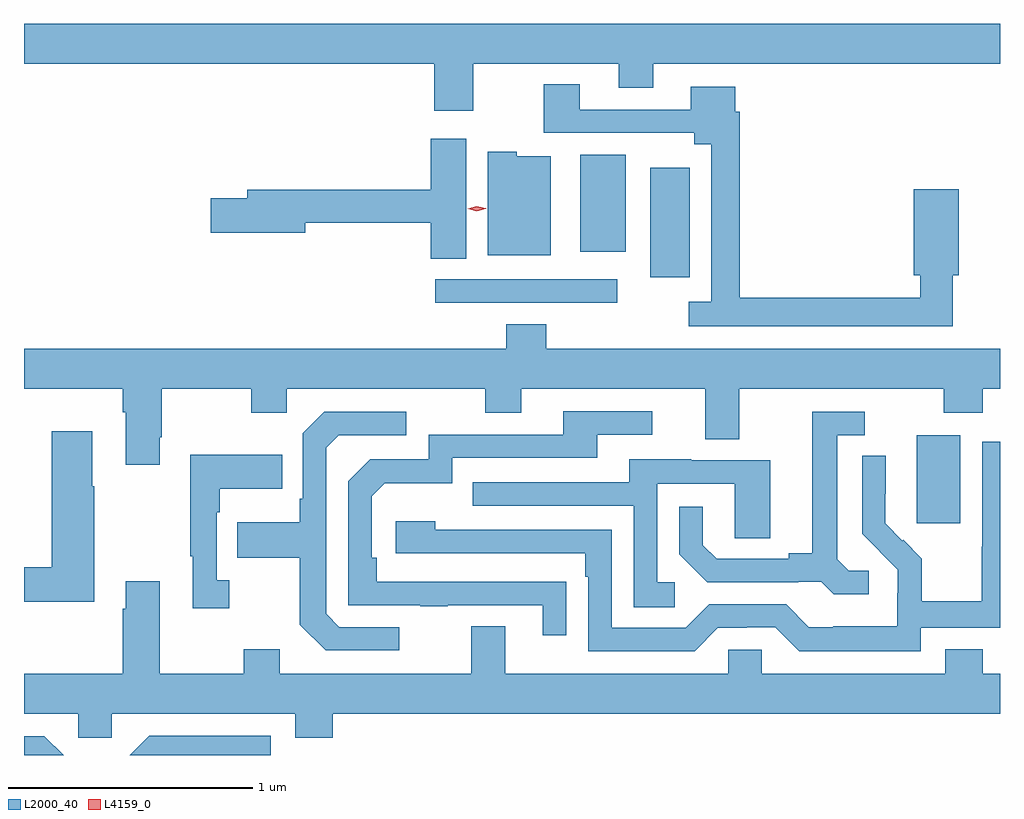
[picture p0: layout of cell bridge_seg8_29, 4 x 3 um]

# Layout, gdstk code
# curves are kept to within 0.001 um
import gdstk
lib = gdstk.Library(unit=1e-6, precision=1e-09)
def R(c, l, rs):  # rectangles x0, y0, x1, y1
    for r in rs: c.add(gdstk.rectangle(r[:2], r[2:], *l))
def P(c, l, *ps):  # polygons
    for p in ps: c.add(gdstk.Polygon(p, *l))
L2000_40 = (2000, 40)
L4159_0 = (4159, 0)

bridge_seg8_29 = lib.new_cell('bridge_seg8_29')
R(bridge_seg8_29, L2000_40, [(1095.524,1143.921,1095.703,1144.282), (1093.551,1144.824,1094.296,1144.92), (1094.432,1144.929,1094.593,1145.377), (1094.144,1145.033,1094.332,1145.431)])
P(bridge_seg8_29, L2000_40, [(1093.707,1145.804),(1094.303,1145.804),(1094.303,1145.705),(1094.443,1145.705),(1094.443,1145.804),(1095.865,1145.804),(1095.865,1145.968),(1091.865,1145.968),(1091.865,1145.804),(1093.547,1145.804),(1093.547,1145.61),(1093.707,1145.61)],
  [(1095.671,1144.937),(1095.695,1144.937),(1095.695,1145.29),(1095.512,1145.29),(1095.512,1144.937),(1095.539,1144.937),(1095.539,1144.844),(1094.798,1144.844),(1094.798,1145.606),(1094.779,1145.606),(1094.779,1145.71),(1094.597,1145.71),(1094.597,1145.616),(1094.143,1145.616),(1094.143,1145.719),(1093.996,1145.719),(1093.996,1145.52),(1094.612,1145.52),(1094.612,1145.474),(1094.682,1145.474),(1094.682,1144.828),(1094.589,1144.828),(1094.589,1144.728),(1095.671,1144.728)],
  [(1093.678,1145.497),(1093.532,1145.497),(1093.532,1145.288),(1092.779,1145.288),(1092.779,1145.252),(1092.63,1145.252),(1092.63,1145.11),(1093.018,1145.11),(1093.018,1145.152),(1093.532,1145.152),(1093.532,1145.005),(1093.678,1145.005)],
  [(1094.023,1145.425),(1093.884,1145.425),(1093.884,1145.443),(1093.766,1145.443),(1093.766,1145.018),(1094.023,1145.018)],
  [(1092.421,1144.273),(1092.429,1144.273),(1092.429,1144.472),(1092.796,1144.472),(1092.796,1144.373),(1092.942,1144.373),(1092.942,1144.472),(1093.756,1144.472),(1093.756,1144.373),(1093.903,1144.373),(1093.903,1144.472),(1094.657,1144.472),(1094.657,1144.264),(1094.797,1144.264),(1094.797,1144.472),(1095.634,1144.472),(1095.634,1144.373),(1095.794,1144.373),(1095.794,1144.472),(1095.865,1144.472),(1095.865,1144.636),(1094.006,1144.636),(1094.006,1144.735),(1093.841,1144.735),(1093.841,1144.636),(1091.865,1144.636),(1091.865,1144.472),(1092.269,1144.472),(1092.269,1144.376),(1092.281,1144.376),(1092.281,1144.161),(1092.421,1144.161)],
  [(1094.087,1143.68),(1093.31,1143.681),(1093.31,1143.778),(1093.29,1143.778),(1093.29,1144.032),(1093.343,1144.085),(1093.62,1144.085),(1093.62,1144.188),(1094.215,1144.188),(1094.215,1144.284),(1094.44,1144.284),(1094.44,1144.38),(1094.075,1144.38),(1094.075,1144.284),(1093.524,1144.284),(1093.524,1144.182),(1093.284,1144.182),(1093.194,1144.092),(1093.194,1143.585),(1093.489,1143.585),(1093.489,1143.58),(1093.601,1143.58),(1093.601,1143.585),(1093.991,1143.585),(1093.991,1143.462),(1094.087,1143.462)],
  [(1093.402,1143.495),(1093.158,1143.495),(1093.104,1143.549),(1093.104,1144.23),(1093.155,1144.281),(1093.432,1144.281),(1093.432,1144.377),(1093.095,1144.377),(1093.008,1144.29),(1093.008,1144.021),(1092.996,1144.021),(1092.996,1143.925),(1092.739,1143.925),(1092.739,1143.778),(1092.996,1143.778),(1092.996,1143.505),(1093.101,1143.399),(1093.402,1143.399)],
  [(1095.328,1143.726),(1095.246,1143.726),(1095.199,1143.773),(1095.199,1144.281),(1095.31,1144.281),(1095.31,1144.377),(1095.095,1144.377),(1095.095,1143.797),(1094.999,1143.797),(1094.999,1143.774),(1094.704,1143.774),(1094.647,1143.831),(1094.647,1143.988),(1094.55,1143.988),(1094.55,1143.794),(1094.666,1143.678),(1095.038,1143.678),(1095.038,1143.681),(1095.132,1143.681),(1095.184,1143.629),(1095.328,1143.629)],
  [(1092.153,1144.073),(1092.145,1144.073),(1092.145,1144.297),(1091.978,1144.297),(1091.978,1143.74),(1091.865,1143.74),(1091.865,1143.598),(1092.153,1143.598)],
  [(1095.54,1143.492),(1095.865,1143.492),(1095.865,1144.254),(1095.792,1144.254),(1095.792,1143.824),(1095.79,1143.824),(1095.79,1143.601),(1095.545,1143.601),(1095.545,1143.775),(1095.468,1143.852),(1095.465,1143.849),(1095.395,1143.92),(1095.396,1144.196),(1095.3,1144.196),(1095.3,1143.878),(1095.446,1143.73),(1095.446,1143.633),(1095.444,1143.633),(1095.444,1143.499),(1095.181,1143.499),(1095.181,1143.495),(1095.081,1143.495),(1094.988,1143.588),(1094.673,1143.588),(1094.577,1143.492),(1094.274,1143.492),(1094.274,1143.894),(1093.55,1143.894),(1093.55,1143.928),(1093.389,1143.928),(1093.389,1143.798),(1094.165,1143.798),(1094.165,1143.701),(1094.178,1143.701),(1094.178,1143.396),(1094.613,1143.396),(1094.709,1143.492),(1094.828,1143.492),(1094.828,1143.495),(1094.943,1143.495),(1095.043,1143.395),(1095.54,1143.395)],
  [(1092.706,1143.686),(1092.654,1143.686),(1092.654,1143.965),(1092.667,1143.965),(1092.667,1144.061),(1092.923,1144.061),(1092.923,1144.201),(1092.546,1144.201),(1092.546,1143.785),(1092.557,1143.785),(1092.557,1143.573),(1092.706,1143.573)],
  [(1094.533,1143.678),(1094.46,1143.678),(1094.46,1144.083),(1094.778,1144.083),(1094.778,1143.859),(1094.923,1143.859),(1094.923,1144.179),(1094.599,1144.179),(1094.599,1144.183),(1094.345,1144.183),(1094.345,1144.089),(1093.705,1144.089),(1093.705,1143.993),(1094.364,1143.993),(1094.364,1143.577),(1094.533,1143.577)],
  [(1093.13,1143.14),(1095.865,1143.14),(1095.865,1143.304),(1095.794,1143.304),(1095.794,1143.403),(1095.641,1143.403),(1095.641,1143.304),(1094.889,1143.304),(1094.889,1143.402),(1094.751,1143.402),(1094.751,1143.304),(1093.837,1143.304),(1093.837,1143.499),(1093.697,1143.499),(1093.697,1143.304),(1092.913,1143.304),(1092.913,1143.403),(1092.766,1143.403),(1092.766,1143.304),(1092.421,1143.304),(1092.421,1143.682),(1092.281,1143.682),(1092.281,1143.569),(1092.269,1143.569),(1092.269,1143.304),(1091.865,1143.304),(1091.865,1143.14),(1092.087,1143.14),(1092.087,1143.042),(1092.225,1143.042),(1092.225,1143.14),(1092.977,1143.14),(1092.977,1143.041),(1093.13,1143.041)],
  [(1092.876,1143.049),(1092.379,1143.049),(1092.299,1142.969),(1092.876,1142.969)],
  [(1091.949,1143.048),(1091.865,1143.048),(1091.865,1142.969),(1092.028,1142.969)])
P(bridge_seg8_29, L4159_0, [(1093.721,1145.2),(1093.684,1145.209),(1093.683,1145.209),(1093.684,1145.21),(1093.721,1145.22),(1093.758,1145.211),(1093.759,1145.211),(1093.758,1145.21)])

lib.write_gds('bridge_seg8_29.gds')
